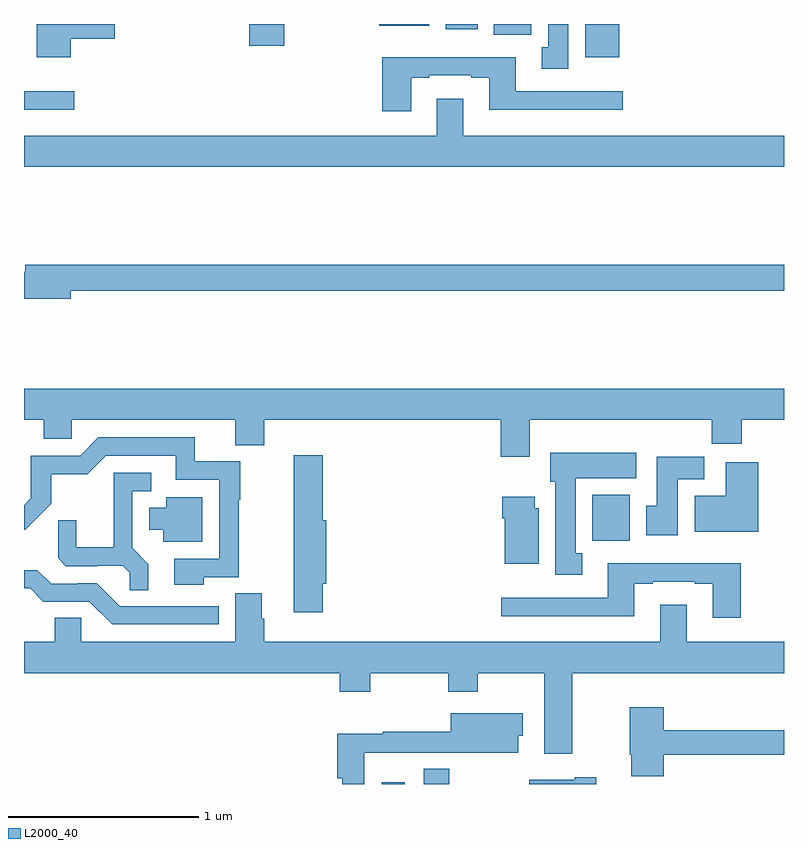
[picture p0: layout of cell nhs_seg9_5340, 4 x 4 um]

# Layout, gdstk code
import gdstk
lib = gdstk.Library(unit=1e-6, precision=1e-09)
def R(c, l, rs):  # rectangles x0, y0, x1, y1
    for r in rs: c.add(gdstk.rectangle(r[:2], r[2:], *l))
def P(c, l, *ps):  # polygons
    for p in ps: c.add(gdstk.Polygon(p, *l))
L2000_40 = (2000, 40)

nhs_seg9_5340 = lib.new_cell('nhs_seg9_5340')
R(nhs_seg9_5340, L2000_40, [(422.882,1198.5,423.004,1198.51), (423.104,1198.5,423.238,1198.58), (423.992,1199.78,424.189,1200.022), (421,1202.048,421.264,1202.145), (423.953,1202.324,424.132,1202.5), (422.186,1202.385,422.369,1202.5), (423.473,1202.444,423.67,1202.5), (423.221,1202.472,423.388,1202.5), (422.87,1202.492,423.133,1202.5)])
P(nhs_seg9_5340, L2000_40, [(421.246,1202.423),(421.477,1202.423),(421.477,1202.5),(421.067,1202.5),(421.067,1202.324),(421.246,1202.324)],
  [(423.865,1202.5),(423.758,1202.5),(423.758,1202.378),(423.725,1202.378),(423.725,1202.265),(423.865,1202.265)],
  [(423.037,1202.217),(423.133,1202.217),(423.133,1202.229),(423.353,1202.229),(423.353,1202.217),(423.449,1202.217),(423.449,1202.048),(424.15,1202.048),(424.15,1202.145),(423.589,1202.145),(423.589,1202.326),(422.885,1202.326),(422.885,1202.04),(423.037,1202.04)],
  [(425,1201.912),(423.313,1201.912),(423.313,1202.107),(423.173,1202.107),(423.173,1201.912),(421,1201.912),(421,1201.748),(425,1201.748)],
  [(421.246,1201.096),(425,1201.096),(425,1201.232),(421.007,1201.232),(421.007,1201.196),(421,1201.196),(421,1201.054),(421.246,1201.054)],
  [(423.661,1200.416),(424.621,1200.416),(424.621,1200.292),(424.778,1200.292),(424.778,1200.416),(425,1200.416),(425,1200.58),(421,1200.58),(421,1200.416),(421.105,1200.416),(421.105,1200.318),(421.251,1200.318),(421.251,1200.416),(422.111,1200.416),(422.111,1200.283),(422.264,1200.283),(422.264,1200.416),(423.509,1200.416),(423.509,1200.222),(423.661,1200.222)],
  [(421.947,1199.589),(422.129,1199.589),(422.129,1199.995),(422.137,1199.995),(422.137,1200.198),(421.898,1200.198),(421.898,1200.324),(421.392,1200.324),(421.296,1200.228),(421.035,1200.228),(421.035,1200.003),(421,1199.968),(421,1199.837),(421.006,1199.837),(421.144,1199.974),(421.144,1200.13),(421.333,1200.13),(421.431,1200.228),(421.799,1200.228),(421.799,1200.102),(422.028,1200.102),(422.028,1199.685),(421.791,1199.685),(421.791,1199.549),(421.947,1199.549)],
  [(423.937,1199.714),(423.904,1199.714),(423.904,1200.11),(424.222,1200.11),(424.222,1200.244),(423.77,1200.244),(423.77,1200.09),(423.797,1200.09),(423.797,1199.601),(423.937,1199.601)],
  [(422.573,1199.553),(422.591,1199.553),(422.591,1199.889),(422.573,1199.889),(422.573,1200.229),(422.419,1200.229),(422.419,1199.889),(422.42,1199.889),(422.42,1199.403),(422.573,1199.403)],
  [(424.441,1200.104),(424.58,1200.104),(424.58,1200.223),(424.331,1200.223),(424.331,1199.964),(424.274,1199.964),(424.274,1199.808),(424.441,1199.808)],
  [(424.865,1200.193),(424.694,1200.193),(424.694,1200.016),(424.529,1200.016),(424.529,1199.828),(424.865,1199.828)],
  [(421.655,1199.657),(421.569,1199.743),(421.569,1200.042),(421.669,1200.042),(421.669,1200.138),(421.472,1200.138),(421.472,1199.746),(421.274,1199.746),(421.274,1199.889),(421.18,1199.889),(421.18,1199.687),(421.221,1199.646),(421.386,1199.646),(421.386,1199.649),(421.52,1199.649),(421.557,1199.612),(421.557,1199.521),(421.655,1199.521)],
  [(423.709,1199.952),(423.688,1199.952),(423.688,1200.013),(423.518,1200.013),(423.518,1199.9),(423.53,1199.9),(423.53,1199.66),(423.709,1199.66)],
  [(421.939,1200.01),(421.748,1200.01),(421.748,1199.953),(421.658,1199.953),(421.658,1199.837),(421.733,1199.837),(421.733,1199.774),(421.939,1199.774)],
  [(424.773,1199.662),(424.073,1199.662),(424.073,1199.481),(423.513,1199.481),(423.513,1199.384),(424.213,1199.384),(424.213,1199.553),(424.309,1199.553),(424.309,1199.565),(424.529,1199.565),(424.529,1199.553),(424.625,1199.553),(424.625,1199.376),(424.773,1199.376)],
  [(422.026,1199.436),(421.503,1199.436),(421.383,1199.556),(421.282,1199.556),(421.282,1199.553),(421.143,1199.553),(421.07,1199.626),(421,1199.626),(421,1199.529),(421.032,1199.529),(421.101,1199.46),(421.344,1199.46),(421.464,1199.34),(422.026,1199.34)],
  [(423.885,1199.084),(425,1199.084),(425,1199.248),(424.489,1199.248),(424.489,1199.443),(424.349,1199.443),(424.349,1199.248),(422.264,1199.248),(422.264,1199.37),(422.251,1199.37),(422.251,1199.504),(422.111,1199.504),(422.111,1199.248),(421.302,1199.248),(421.302,1199.375),(421.163,1199.375),(421.163,1199.248),(421,1199.248),(421,1199.084),(422.663,1199.084),(422.663,1198.985),(422.823,1198.985),(422.823,1199.084),(423.232,1199.084),(423.232,1198.985),(423.387,1198.985),(423.387,1199.084),(423.737,1199.084),(423.737,1198.659),(423.885,1198.659)],
  [(424.367,1198.654),(425,1198.654),(425,1198.783),(424.367,1198.783),(424.367,1198.903),(424.189,1198.903),(424.189,1198.654),(424.196,1198.654),(424.196,1198.542),(424.367,1198.542)],
  [(422.79,1198.664),(423,1198.664),(423,1198.665),(423.349,1198.665),(423.349,1198.664),(423.601,1198.664),(423.601,1198.755),(423.625,1198.755),(423.625,1198.873),(423.245,1198.873),(423.245,1198.774),(422.887,1198.774),(422.887,1198.764),(422.648,1198.764),(422.648,1198.529),(422.674,1198.529),(422.674,1198.5),(422.79,1198.5)],
  [(424.012,1198.535),(423.899,1198.535),(423.899,1198.522),(423.659,1198.522),(423.659,1198.5),(424.012,1198.5)])

lib.write_gds('nhs_seg9_5340.gds')
